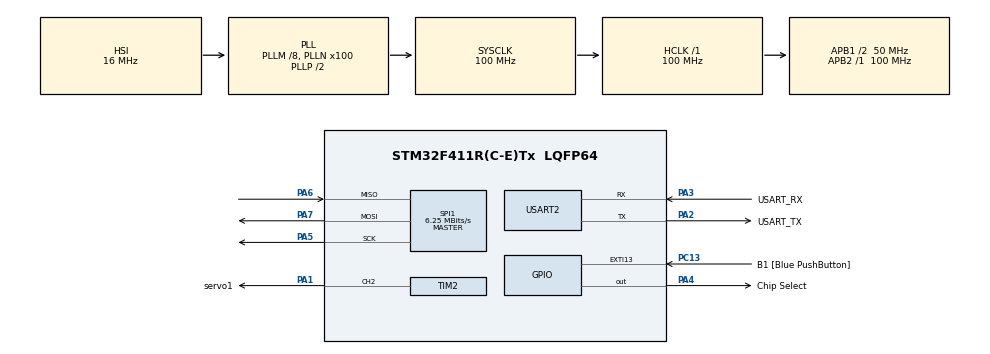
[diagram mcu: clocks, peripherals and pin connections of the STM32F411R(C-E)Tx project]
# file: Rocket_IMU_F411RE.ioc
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Mcu.Family=STM32F4
Mcu.Name=STM32F411R(C-E)Tx
Mcu.Package=LQFP64
NVIC.PriorityGroup=NVIC_PRIORITYGROUP_0
NVIC.TIM2_IRQn=true\:0\:0\:false\:false\:true\:true\:true\:true
PA1.GPIO_Label=servo1
PA1.Signal=S_TIM2_CH2
PA13.GPIO_Label=TMS
PA13.Mode=Serial_Wire
PA13.Signal=SYS_JTMS-SWDIO
PA14.GPIO_Label=TCK
PA14.Mode=Serial_Wire
PA14.Signal=SYS_JTCK-SWCLK
PA2.GPIO_Label=USART_TX
PA2.Mode=Asynchronous
PA2.Signal=USART2_TX
PA3.GPIO_Label=USART_RX
PA3.Mode=Asynchronous
PA3.Signal=USART2_RX
PA4.GPIO_Label=Chip Select
PA4.GPIO_Speed=GPIO_SPEED_FREQ_VERY_HIGH
PA4.PinState=GPIO_PIN_SET
PA4.Signal=GPIO_Output
PA5.Mode=Full_Duplex_Master
PA5.Signal=SPI1_SCK
PA6.Mode=Full_Duplex_Master
PA6.Signal=SPI1_MISO
PA7.Mode=Full_Duplex_Master
PA7.Signal=SPI1_MOSI
PB3.GPIO_Label=SWO
PB3.Signal=SYS_JTDO-SWO
PC13-ANTI_TAMP.GPIO_Label=B1 [Blue PushButton]
PC13-ANTI_TAMP.GPIO_ModeDefaultEXTI=GPIO_MODE_IT_FALLING
PC13-ANTI_TAMP.Signal=GPXTI13
PC14-OSC32_IN.Mode=LSE-External-Oscillator
PC14-OSC32_IN.Signal=RCC_OSC32_IN
PC15-OSC32_OUT.Mode=LSE-External-Oscillator
PC15-OSC32_OUT.Signal=RCC_OSC32_OUT
PH0\ -\ OSC_IN.Mode=HSE-External-Clock-Source
PH0\ -\ OSC_IN.Signal=RCC_OSC_IN
PH1\ -\ OSC_OUT.Mode=HSE-External-Clock-Source
PH1\ -\ OSC_OUT.Signal=RCC_OSC_OUT
ProjectManager.HeapSize=0x200
ProjectManager.StackSize=0x400
ProjectManager.TargetToolchain=CMake
RCC.48MHZClocksFreq_Value=50000000
RCC.AHBFreq_Value=100000000
RCC.APB1CLKDivider=RCC_HCLK_DIV2
RCC.APB1Freq_Value=50000000
RCC.APB1TimFreq_Value=100000000
RCC.APB2Freq_Value=100000000
RCC.APB2TimFreq_Value=100000000
RCC.CortexFreq_Value=100000000
RCC.FLatency-AdvancedSettings=FLASH_LATENCY_3
RCC.HCLKFreq_Value=100000000
RCC.HSE_VALUE=8000000
RCC.HSI_VALUE=16000000
RCC.PLLM=8
RCC.PLLN=100
RCC.SYSCLKFreq_VALUE=100000000
RCC.SYSCLKSource=RCC_SYSCLKSOURCE_PLLCLK
RCC.VCOOutputFreq_Value=200000000
SH.S_TIM2_CH2.0=TIM2_CH2,PWM Generation2 CH2
SPI1.BaudRatePrescaler=SPI_BAUDRATEPRESCALER_16
SPI1.CLKPhase=SPI_PHASE_2EDGE
SPI1.CLKPolarity=SPI_POLARITY_HIGH
SPI1.CalculateBaudRate=6.25 MBits/s
SPI1.Direction=SPI_DIRECTION_2LINES
SPI1.Mode=SPI_MODE_MASTER
SPI1.VirtualType=VM_MASTER
TIM2.AutoReloadPreload=TIM_AUTORELOAD_PRELOAD_DISABLE
TIM2.Channel-PWM\ Generation2\ CH2=TIM_CHANNEL_2
TIM2.Period=100000-1
TIM2.Prescaler=20-1
USART2.VirtualMode=VM_ASYNC
VP_TIM2_VS_ClockSourceINT.Mode=Internal
board=NUCLEO-F411RE

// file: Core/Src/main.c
/* USER CODE BEGIN Header */
/**
  ******************************************************************************
  * @file           : main.c
  * @brief          : Main program body
  ******************************************************************************
  * @attention
  *
  * Copyright (c) 2025 STMicroelectronics.
  * All rights reserved.
  *
  * This software is licensed under terms that can be found in the LICENSE file
  * in the root directory of this software component.
  * If no LICENSE file comes with this software, it is provided AS-IS.
  *
  ******************************************************************************
  */
/* USER CODE END Header */
#include "main.h"

/* USER CODE BEGIN Includes */
#include <stdio.h>
#include <stdint.h>
#include <string.h>
/* USER CODE END Includes */

SPI_HandleTypeDef hspi1;

TIM_HandleTypeDef htim2;

UART_HandleTypeDef huart2;

void SystemClock_Config(void);
static void MX_GPIO_Init(void);
static void MX_USART2_UART_Init(void);
static void MX_TIM2_Init(void);
static void MX_SPI1_Init(void);

/* USER CODE BEGIN 0 */

void lsm6dsr_writereg(SPI_HandleTypeDef *hspi, GPIO_TypeDef* CS_PORT, uint16_t CS_PIN, uint8_t reg, uint8_t data){
  uint8_t txbuffer[2];
  txbuffer[0] = reg & 0x7f;   // 0x7f is 01111111, which is the write bit
  txbuffer[1] = data;

  HAL_GPIO_WritePin(CS_PORT, CS_PIN, GPIO_PIN_RESET);
  HAL_SPI_Transmit(hspi, txbuffer, 2, HAL_MAX_DELAY);
  HAL_GPIO_WritePin(CS_PORT, CS_PIN, GPIO_PIN_SET);
}

uint8_t lsm6dsr_readreg(SPI_HandleTypeDef *hspi, GPIO_TypeDef* CS_PORT, uint16_t CS_PIN, uint8_t reg){
  uint8_t txbuffer[2];
  uint8_t rxbuffer[2];
  txbuffer[0] = reg | 0x80;   // 0x80 is 10000000, which is the read bit
  txbuffer[1] = 0;

  HAL_GPIO_WritePin(CS_PORT, CS_PIN, GPIO_PIN_RESET);
  HAL_SPI_TransmitReceive(hspi, txbuffer, rxbuffer, 2, HAL_MAX_DELAY);
  HAL_GPIO_WritePin(CS_PORT, CS_PIN, GPIO_PIN_SET);

  return rxbuffer[1];
}

// To redirect the printf to output to the UART instead so I can see it in putty
int __io_putchar(int ch)
{
    HAL_UART_Transmit(&huart2, (uint8_t *)&ch, 1, HAL_MAX_DELAY);
    return ch;
}

/*
================
SERVO FUNCTIONS
================
*/
void Servo_SetAngle(TIM_HandleTypeDef *htim, uint32_t Channel, float angle)
{
    // angle range: -90 to +90 degrees
    float pulse_length_ms = ((angle + 90.0f) / 180.0f) * 1.0f + 1.0f; // maps [-90,+90] to [1ms,2ms]

    // Convert pulse length in ms to timer counts (0.2us resolution)
    uint32_t pulse_counts = (uint32_t)(pulse_length_ms * 5000.0f);

    __HAL_TIM_SET_COMPARE(htim, Channel, pulse_counts);
}

void Servo_Sweep_Demo(TIM_HandleTypeDef *htim, uint32_t Channel)
{
    const int delay_ms = 20;  // Adjust this for speed of sweep
    float angle;

    // 0° to -90°
    for (angle = 0; angle >= -90; angle -= 1.0f) {
        Servo_SetAngle(htim, Channel, angle);
        HAL_Delay(delay_ms);
    }

    HAL_Delay(500);

    // -90° to +90°
    for (angle = -90; angle <= 90; angle += 1.0f) {
        Servo_SetAngle(htim, Channel, angle);
        HAL_Delay(delay_ms);
    }

    HAL_Delay(500);

    // +90° back to 0°
    for (angle = 90; angle >= 0; angle -= 1.0f) {
        Servo_SetAngle(htim, Channel, angle);
        HAL_Delay(delay_ms);
    }
}

/* USER CODE END 0 */

int main(void)
{

  /* MCU Configuration--------------------------------------------------------*/

  /* Reset of all peripherals, Initializes the Flash interface and the Systick. */
  HAL_Init();

  /* Configure the system clock */
  SystemClock_Config();

  /* Initialize all configured peripherals */
  MX_GPIO_Init();
  MX_USART2_UART_Init();
  MX_TIM2_Init();
  MX_SPI1_Init();
  /* USER CODE BEGIN 2 */

  HAL_TIM_PWM_Start(&htim2, TIM_CHANNEL_2);

  int increment = 7500;

  // Contains the value read from the specified register
  uint8_t whoami = 0;

  // This contains debug messages to send to the UART
  char* msg = 0;
  int correct = 0;
  int incorrect = 0;

  /* USER CODE END 2 */

  /* Infinite loop */
  /* USER CODE BEGIN WHILE */
  while (1)
  {

    Servo_Sweep_Demo(&htim2, TIM_CHANNEL_2);

    whoami = lsm6dsr_readreg(&hspi1, Chip_Select_GPIO_Port, Chip_Select_Pin, 0x0f);

    if (whoami == 0x6b){
      printf("Success! Who am I register value: 0x%x\r\n", whoami);
      correct ++;
    }
    else {
      printf("Error! Who am I register value: 0x%x\r\n", whoami);
      incorrect ++;
    }

    /* USER CODE END WHILE */

  }
}

void SystemClock_Config(void)
{
  RCC_OscInitTypeDef RCC_OscInitStruct = {0};
  RCC_ClkInitTypeDef RCC_ClkInitStruct = {0};

  /** Configure the main internal regulator output voltage
  */
  __HAL_RCC_PWR_CLK_ENABLE();
  __HAL_PWR_VOLTAGESCALING_CONFIG(PWR_REGULATOR_VOLTAGE_SCALE1);

  /** Initializes the RCC Oscillators according to the specified parameters
  * in the RCC_OscInitTypeDef structure.
  */
  RCC_OscInitStruct.OscillatorType = RCC_OSCILLATORTYPE_HSI;
  RCC_OscInitStruct.HSIState = RCC_HSI_ON;
  RCC_OscInitStruct.HSICalibrationValue = RCC_HSICALIBRATION_DEFAULT;
  RCC_OscInitStruct.PLL.PLLState = RCC_PLL_ON;
  RCC_OscInitStruct.PLL.PLLSource = RCC_PLLSOURCE_HSI;
  RCC_OscInitStruct.PLL.PLLM = 8;
  RCC_OscInitStruct.PLL.PLLN = 100;
  RCC_OscInitStruct.PLL.PLLP = RCC_PLLP_DIV2;
  RCC_OscInitStruct.PLL.PLLQ = 4;
  if (HAL_RCC_OscConfig(&RCC_OscInitStruct) != HAL_OK)
  {
    Error_Handler();
  }

  /** Initializes the CPU, AHB and APB buses clocks
  */
  RCC_ClkInitStruct.ClockType = RCC_CLOCKTYPE_HCLK|RCC_CLOCKTYPE_SYSCLK
                              |RCC_CLOCKTYPE_PCLK1|RCC_CLOCKTYPE_PCLK2;
  RCC_ClkInitStruct.SYSCLKSource = RCC_SYSCLKSOURCE_PLLCLK;
  RCC_ClkInitStruct.AHBCLKDivider = RCC_SYSCLK_DIV1;
  RCC_ClkInitStruct.APB1CLKDivider = RCC_HCLK_DIV2;
  RCC_ClkInitStruct.APB2CLKDivider = RCC_HCLK_DIV1;

  if (HAL_RCC_ClockConfig(&RCC_ClkInitStruct, FLASH_LATENCY_3) != HAL_OK)
  {
    Error_Handler();
  }
}

static void MX_SPI1_Init(void)
{

  /* SPI1 parameter configuration*/
  hspi1.Instance = SPI1;
  hspi1.Init.Mode = SPI_MODE_MASTER;
  hspi1.Init.Direction = SPI_DIRECTION_2LINES;
  hspi1.Init.DataSize = SPI_DATASIZE_8BIT;
  hspi1.Init.CLKPolarity = SPI_POLARITY_HIGH;
  hspi1.Init.CLKPhase = SPI_PHASE_2EDGE;
  hspi1.Init.NSS = SPI_NSS_SOFT;
  hspi1.Init.BaudRatePrescaler = SPI_BAUDRATEPRESCALER_16;
  hspi1.Init.FirstBit = SPI_FIRSTBIT_MSB;
  hspi1.Init.TIMode = SPI_TIMODE_DISABLE;
  hspi1.Init.CRCCalculation = SPI_CRCCALCULATION_DISABLE;
  hspi1.Init.CRCPolynomial = 10;
  if (HAL_SPI_Init(&hspi1) != HAL_OK)
  {
    Error_Handler();
  }

}

static void MX_TIM2_Init(void)
{

  TIM_ClockConfigTypeDef sClockSourceConfig = {0};
  TIM_MasterConfigTypeDef sMasterConfig = {0};
  TIM_OC_InitTypeDef sConfigOC = {0};

  htim2.Instance = TIM2;
  htim2.Init.Prescaler = 20-1;
  htim2.Init.CounterMode = TIM_COUNTERMODE_UP;
  htim2.Init.Period = 100000-1;
  htim2.Init.ClockDivision = TIM_CLOCKDIVISION_DIV1;
  htim2.Init.AutoReloadPreload = TIM_AUTORELOAD_PRELOAD_DISABLE;
  if (HAL_TIM_Base_Init(&htim2) != HAL_OK)
  {
    Error_Handler();
  }
  sClockSourceConfig.ClockSource = TIM_CLOCKSOURCE_INTERNAL;
  if (HAL_TIM_ConfigClockSource(&htim2, &sClockSourceConfig) != HAL_OK)
  {
    Error_Handler();
  }
  if (HAL_TIM_PWM_Init(&htim2) != HAL_OK)
  {
    Error_Handler();
  }
  sMasterConfig.MasterOutputTrigger = TIM_TRGO_RESET;
  sMasterConfig.MasterSlaveMode = TIM_MASTERSLAVEMODE_DISABLE;
  if (HAL_TIMEx_MasterConfigSynchronization(&htim2, &sMasterConfig) != HAL_OK)
  {
    Error_Handler();
  }
  sConfigOC.OCMode = TIM_OCMODE_PWM1;
  sConfigOC.Pulse = 0;
  sConfigOC.OCPolarity = TIM_OCPOLARITY_HIGH;
  sConfigOC.OCFastMode = TIM_OCFAST_DISABLE;
  if (HAL_TIM_PWM_ConfigChannel(&htim2, &sConfigOC, TIM_CHANNEL_2) != HAL_OK)
  {
    Error_Handler();
  }
  HAL_TIM_MspPostInit(&htim2);

}

static void MX_USART2_UART_Init(void)
{

  huart2.Instance = USART2;
  huart2.Init.BaudRate = 115200;
  huart2.Init.WordLength = UART_WORDLENGTH_8B;
  huart2.Init.StopBits = UART_STOPBITS_1;
  huart2.Init.Parity = UART_PARITY_NONE;
  huart2.Init.Mode = UART_MODE_TX_RX;
  huart2.Init.HwFlowCtl = UART_HWCONTROL_NONE;
  huart2.Init.OverSampling = UART_OVERSAMPLING_16;
  if (HAL_UART_Init(&huart2) != HAL_OK)
  {
    Error_Handler();
  }

}

static void MX_GPIO_Init(void)
{
  GPIO_InitTypeDef GPIO_InitStruct = {0};

  /* GPIO Ports Clock Enable */
  __HAL_RCC_GPIOC_CLK_ENABLE();
  __HAL_RCC_GPIOH_CLK_ENABLE();
  __HAL_RCC_GPIOA_CLK_ENABLE();
  __HAL_RCC_GPIOB_CLK_ENABLE();

  /*Configure GPIO pin Output Level */
  HAL_GPIO_WritePin(Chip_Select_GPIO_Port, Chip_Select_Pin, GPIO_PIN_SET);

  /*Configure GPIO pin : B1_Pin */
  GPIO_InitStruct.Pin = B1_Pin;
  GPIO_InitStruct.Mode = GPIO_MODE_IT_FALLING;
  GPIO_InitStruct.Pull = GPIO_NOPULL;
  HAL_GPIO_Init(B1_GPIO_Port, &GPIO_InitStruct);

  /*Configure GPIO pin : Chip_Select_Pin */
  GPIO_InitStruct.Pin = Chip_Select_Pin;
  GPIO_InitStruct.Mode = GPIO_MODE_OUTPUT_PP;
  GPIO_InitStruct.Pull = GPIO_NOPULL;
  GPIO_InitStruct.Speed = GPIO_SPEED_FREQ_VERY_HIGH;
  HAL_GPIO_Init(Chip_Select_GPIO_Port, &GPIO_InitStruct);

}

void Error_Handler(void)
{
  __disable_irq();
  while (1)
  {
  }
}
